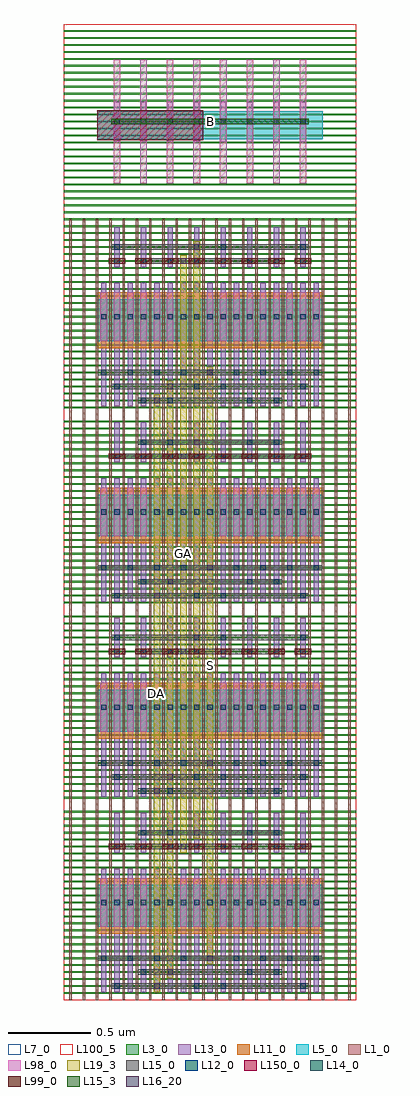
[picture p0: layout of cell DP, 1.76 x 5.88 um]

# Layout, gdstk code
import gdstk
lib = gdstk.Library(unit=1e-6, precision=1e-09)
def R(c, l, rs):  # rectangles x0, y0, x1, y1
    for r in rs: c.add(gdstk.rectangle(r[:2], r[2:], *l))
def A(c, l, x, y, w, h, nx, ny, dx, dy):  # array of equal rectangles
    R(c, l, [(x+i*dx, y+j*dy, x+i*dx+w, y+j*dy+h) for i in range(nx) for j in range(ny)])
L1_0 = (1, 0)
L3_0 = (3, 0)
L5_0 = (5, 0)
L7_0 = (7, 0)
L11_0 = (11, 0)
L12_0 = (12, 0)
L13_0 = (13, 0)
L14_0 = (14, 0)
L15_0 = (15, 0)
L15_3 = (15, 3)
L16_20 = (16, 20)
L19_3 = (19, 3)
L98_0 = (98, 0)
L99_0 = (99, 0)
L100_5 = (100, 5)
L150_0 = (150, 0)

c_dp = lib.new_cell('DP')
A(c_dp, L1_0, 0.033, 0, 0.014, 4.704, 22, 1, 0.08, 0)
A(c_dp, L3_0, 0, 0.037, 1.76, 0.01, 1, 27, 0, 0.042)
A(c_dp, L3_0, 0, 1.213, 1.76, 0.01, 1, 27, 0, 0.042)
A(c_dp, L3_0, 0, 2.389, 1.76, 0.01, 1, 27, 0, 0.042)
A(c_dp, L3_0, 0, 3.565, 1.76, 0.01, 1, 55, 0, 0.042)
A(c_dp, L5_0, 0.2, 0.441, 1.36, 0.252, 1, 4, 0, 1.176)
R(c_dp, L5_0, [(0.2,5.187,1.56,5.355)])
R(c_dp, L7_0, [(0,0,1.76,5.88)])
A(c_dp, L11_0, 0.2, 0.399, 1.36, 0.336, 1, 4, 0, 1.176)
A(c_dp, L12_0, 0.224, 0.572, 0.032, 0.032, 3, 4, 0.08, 1.176)
A(c_dp, L12_0, 0.384, 0.572, 0.032, 0.032, 3, 4, 0.08, 1.176)
A(c_dp, L12_0, 0.544, 0.572, 0.032, 0.032, 3, 4, 0.08, 1.176)
A(c_dp, L12_0, 0.704, 0.572, 0.032, 0.032, 3, 4, 0.08, 1.176)
A(c_dp, L12_0, 0.864, 0.572, 0.032, 0.032, 3, 4, 0.08, 1.176)
A(c_dp, L12_0, 1.024, 0.572, 0.032, 0.032, 3, 4, 0.08, 1.176)
A(c_dp, L12_0, 1.184, 0.572, 0.032, 0.032, 3, 4, 0.08, 1.176)
A(c_dp, L12_0, 1.344, 0.572, 0.032, 0.032, 3, 4, 0.08, 1.176)
A(c_dp, L12_0, 0.304, 0.908, 0.032, 0.032, 8, 4, 0.16, 1.176)
R(c_dp, L12_0, [(0.304,5.276,0.336,5.308), (0.304,5.276,0.336,5.308), (0.304,5.276,0.336,5.308), (0.304,5.276,0.336,5.308), (0.464,5.276,0.496,5.308), (0.464,5.276,0.496,5.308), (0.464,5.276,0.496,5.308), (0.464,5.276,0.496,5.308), (0.624,5.276,0.656,5.308), (0.624,5.276,0.656,5.308), (0.624,5.276,0.656,5.308), (0.624,5.276,0.656,5.308), (0.784,5.276,0.816,5.308), (0.784,5.276,0.816,5.308), (0.784,5.276,0.816,5.308), (0.784,5.276,0.816,5.308), (0.944,5.276,0.976,5.308), (0.944,5.276,0.976,5.308), (0.944,5.276,0.976,5.308), (0.944,5.276,0.976,5.308), (1.104,5.276,1.136,5.308), (1.104,5.276,1.136,5.308), (1.104,5.276,1.136,5.308), (1.104,5.276,1.136,5.308), (1.264,5.276,1.296,5.308), (1.264,5.276,1.296,5.308), (1.264,5.276,1.296,5.308), (1.264,5.276,1.296,5.308), (1.424,5.276,1.456,5.308), (1.424,5.276,1.456,5.308), (1.424,5.276,1.456,5.308), (1.424,5.276,1.456,5.308)])
A(c_dp, L13_0, 0.224, 0.048, 0.032, 0.744, 17, 4, 0.08, 1.176)
A(c_dp, L13_0, 0.304, 0.888, 0.032, 0.24, 8, 4, 0.16, 1.176)
A(c_dp, L13_0, 0.304, 5.172, 0.032, 0.24, 8, 1, 0.16, 0)
A(c_dp, L14_0, 0.224, 0.236, 0.032, 0.032, 9, 4, 0.16, 1.176)
A(c_dp, L14_0, 0.304, 5.276, 0.032, 0.032, 8, 1, 0.16, 0)
R(c_dp, L14_0, [(0.304,0.068,0.336,0.1), (0.784,0.068,0.816,0.1), (0.944,0.068,0.976,0.1), (1.424,0.068,1.456,0.1), (0.464,0.152,0.496,0.184), (0.624,0.152,0.656,0.184), (1.104,0.152,1.136,0.184), (1.264,0.152,1.296,0.184), (0.304,0.908,0.336,0.94), (0.784,0.908,0.816,0.94), (0.944,0.908,0.976,0.94), (1.424,0.908,1.456,0.94), (0.464,0.992,0.496,1.024), (0.624,0.992,0.656,1.024), (1.104,0.992,1.136,1.024), (1.264,0.992,1.296,1.024), (0.464,1.244,0.496,1.276), (0.624,1.244,0.656,1.276), (1.104,1.244,1.136,1.276), (1.264,1.244,1.296,1.276), (0.304,1.328,0.336,1.36), (0.784,1.328,0.816,1.36), (0.944,1.328,0.976,1.36), (1.424,1.328,1.456,1.36), (0.464,2.084,0.496,2.116), (0.624,2.084,0.656,2.116), (1.104,2.084,1.136,2.116), (1.264,2.084,1.296,2.116), (0.304,2.168,0.336,2.2), (0.784,2.168,0.816,2.2), (0.944,2.168,0.976,2.2), (1.424,2.168,1.456,2.2), (0.304,2.42,0.336,2.452), (0.784,2.42,0.816,2.452), (0.944,2.42,0.976,2.452), (1.424,2.42,1.456,2.452), (0.464,2.504,0.496,2.536), (0.624,2.504,0.656,2.536), (1.104,2.504,1.136,2.536), (1.264,2.504,1.296,2.536), (0.304,3.26,0.336,3.292), (0.784,3.26,0.816,3.292), (0.944,3.26,0.976,3.292), (1.424,3.26,1.456,3.292), (0.464,3.344,0.496,3.376), (0.624,3.344,0.656,3.376), (1.104,3.344,1.136,3.376), (1.264,3.344,1.296,3.376), (0.464,3.596,0.496,3.628), (0.624,3.596,0.656,3.628), (1.104,3.596,1.136,3.628), (1.264,3.596,1.296,3.628), (0.304,3.68,0.336,3.712), (0.784,3.68,0.816,3.712), (0.944,3.68,0.976,3.712), (1.424,3.68,1.456,3.712), (0.464,4.436,0.496,4.468), (0.624,4.436,0.656,4.468), (1.104,4.436,1.136,4.468), (1.264,4.436,1.296,4.468), (0.304,4.52,0.336,4.552), (0.784,4.52,0.816,4.552), (0.944,4.52,0.976,4.552), (1.424,4.52,1.456,4.552)])
A(c_dp, L15_0, 0.204, 0.236, 1.352, 0.032, 1, 4, 0, 1.176)
R(c_dp, L15_0, [(0.284,0.068,1.476,0.1), (0.444,0.152,1.316,0.184), (0.284,0.908,1.476,0.94), (0.444,0.992,1.316,1.024), (0.444,1.244,1.316,1.276), (0.284,1.328,1.476,1.36), (0.444,2.084,1.316,2.116), (0.284,2.168,1.476,2.2), (0.284,2.42,1.476,2.452), (0.444,2.504,1.316,2.536), (0.284,3.26,1.476,3.292), (0.444,3.344,1.316,3.376), (0.444,3.596,1.316,3.628), (0.284,3.68,1.476,3.712), (0.444,4.436,1.316,4.468), (0.284,4.52,1.476,4.552)])
R(c_dp, L15_3, [(0.284,5.276,1.476,5.308)])
A(c_dp, L16_20, 0.544, 0.068, 0.032, 0.032, 1, 4, 0, 1.176)
A(c_dp, L16_20, 0.624, 0.152, 0.032, 0.032, 1, 4, 0, 1.176)
A(c_dp, L16_20, 0.864, 0.236, 0.032, 0.032, 1, 4, 0, 1.176)
A(c_dp, L16_20, 0.704, 0.908, 0.032, 0.032, 1, 4, 0, 1.176)
A(c_dp, L16_20, 0.784, 0.992, 0.032, 0.032, 1, 4, 0, 1.176)
R(c_dp, L19_3, [(0.54,0.048,0.58,3.648), (0.62,0.132,0.66,3.732), (0.86,0.216,0.9,3.816), (0.7,0.888,0.74,4.488), (0.78,0.972,0.82,4.572)])
A(c_dp, L98_0, 0.22, 0.441, 0.04, 0.294, 17, 4, 0.08, 1.176)
A(c_dp, L98_0, 0.3, 4.92, 0.04, 0.744, 8, 1, 0.16, 0)
A(c_dp, L99_0, 0.271, 0.908, 0.098, 0.032, 8, 4, 0.16, 1.176)
R(c_dp, L100_5, [(0,0,1.76,5.88)])
R(c_dp, L150_0, [(0.2,5.181,0.84,5.361)])
c_dp.add(gdstk.Label('B', (0.88,5.292), layer=15, texttype=4))
c_dp.add(gdstk.Label('DA', (0.56,1.848), layer=19, texttype=4))
c_dp.add(gdstk.Label('DB', (0.64,1.932), layer=19, texttype=4))
c_dp.add(gdstk.Label('GA', (0.72,2.688), layer=19, texttype=4))
c_dp.add(gdstk.Label('GB', (0.8,2.772), layer=19, texttype=4))
c_dp.add(gdstk.Label('S', (0.88,2.016), layer=19, texttype=4))

lib.write_gds('DP.gds')
